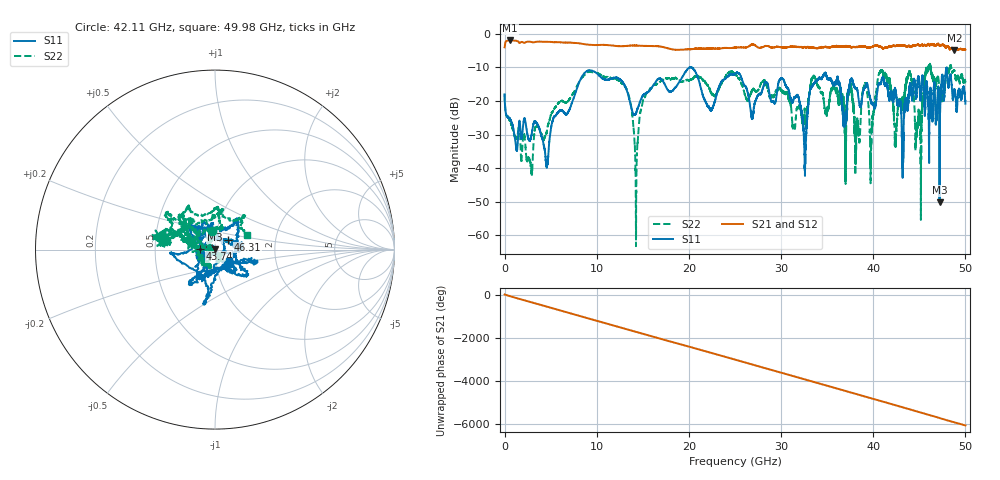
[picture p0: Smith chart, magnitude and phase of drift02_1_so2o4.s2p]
!Created with skrf (http://scikit-rf.org).
# Hz S RI R 50.0
!freq ReS11 ImS11 ReS21 ImS21 ReS12 ImS12 ReS22 ImS22
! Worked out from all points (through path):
!   10001 points, 300 kHz to 50 GHz, reference 50 ohm
!   highest |S21| = -1.99 dB at 600.3 MHz (marker M1); lowest = -4.9 dB at 48.8 GHz (marker M2)
!   group delay of S21, straight-line fit = 337 ps
!   lowest |S11| = -50.2 dB at 47.2 GHz (marker M3), VSWR 1.01, Z = 49.8 + j0.22 ohm
!   |S11| at or under -10 dB: start of sweep to 20.06 GHz; 20.23349 GHz to 20.23663 GHz (3.14 MHz wide, 0.0155 % of centre); 20.25 GHz to end of sweep (the widest 3 of 4)
!   |S22| runs from -63.2 to -8.9 dB; largest |S21 - S12| = 0.031
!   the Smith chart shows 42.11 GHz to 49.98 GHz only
!   S11 on the Smith chart (normalised r, x): 42.11 GHz: 1.14, -0.18; 43.74 GHz: 0.84, +0.01; 46.31 GHz: 1.15, +0.13; 49.98 GHz: 1.16, -0.15
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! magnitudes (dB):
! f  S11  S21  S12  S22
! 300 kHz  -18.1  -4.0  -4.0  -17.8
! 600.3 MHz  -25.4  -2.0  -2.0  -26.2
! 2.79 GHz  -31.4  -2.4  -2.4  -38.2
! 4.565 GHz  -39.7  -2.4  -2.4  -29.3
! 8.335 GHz  -13.0  -2.9  -2.9  -13.3
! 13.05 GHz  -15.4  -3.7  -3.7  -15.7
! 14.28 GHz  -23.6  -3.5  -3.5  -47.5
! 16.67 GHz  -13.4  -3.7  -3.7  -14.4
! 25 GHz  -12.0  -4.1  -4.1  -12.0
! 30.16 GHz  -13.4  -4.1  -4.2  -17.4
! 32.56 GHz  -40.1  -4.0  -4.0  -24.1
! 33.34 GHz  -15.9  -4.1  -4.1  -13.6
! 38.28 GHz  -16.6  -4.0  -3.9  -25.2
! 41.67 GHz  -18.5  -3.8  -3.9  -13.5
! 42.11 GHz  -19.4  -3.6  -3.6  -19.4
! 43.74 GHz  -21.3  -3.8  -3.8  -13.0
! 44.99 GHz  -14.5  -3.5  -3.4  -23.1
! 46.31 GHz  -20.8  -3.2  -3.2  -11.5
! 47.2 GHz  -50.2  -3.5  -3.4  -16.9
! 48.8 GHz  -16.7  -4.9  -4.8  -11.1
! 49.98 GHz  -19.8  -4.7  -4.6  -14.1
! 50 GHz  -20.8  -4.7  -4.7  -14.5
